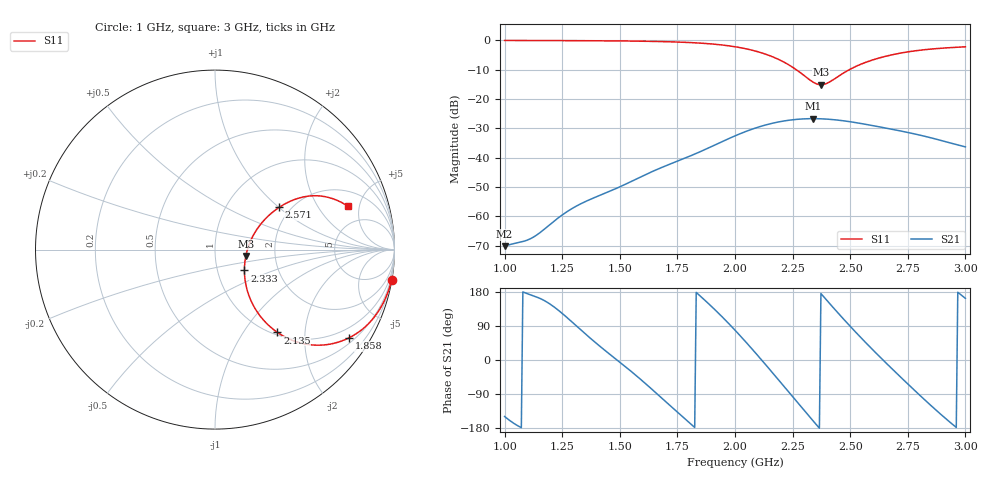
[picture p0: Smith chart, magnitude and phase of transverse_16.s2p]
! TOUCHSTONE file generated by CST MICROWAVE STUDIO
! Date and time: Tue Mar 11 13:55:49 2025
! Project name: transverse.cst
! Parameters = {Fracture=5; B=10; D=160; F=15; Feed=2.85625; L=100; M=10; R=0.384908; S=2; Theta=0; length=57.125; wave=114.25}
! Header version: 2024
! Port assignment regex: !\s*Touchstone port\s*([0-9]+)\s*=\s*(CST MWS port|CST DES external port|CST DES block port)\s*(.+)\s* \(\"(.*)\"\)(\s*mode\s*([0-9]+))?.*
! Touchstone port assignment:
! Touchstone port 1 = CST MWS port 1 ("")
! Touchstone port 2 = CST MWS port 2 ("")
# GHz S MA R 50
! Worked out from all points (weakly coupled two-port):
!   304 points, 1 GHz to 3 GHz, reference 50 ohm
!   highest |S21| = -26.68 dB at 2.34 GHz (marker M1); lowest = -70.2 dB at 1 GHz (marker M2)
!   lowest |S11| = -15.1 dB at 2.373 GHz (marker M3), VSWR 1.43, Z = 70.5 - j5.18 ohm
!   |S11| at or under -10 dB: 2.266 GHz to 2.496 GHz (229.8 MHz wide, 9.65 % of centre)
!   S12 and S22 are empty: the file has one direction only
!   S11 on the Smith chart (normalised r, x): 1 GHz: 0, -12; 1.858 GHz: 0.66, -3.22; 2.135 GHz: 1.04, -1.45; 2.333 GHz: 1.35, -0.33; 2.571 GHz: 1.74, +1.01; 3 GHz: 3.11, +3.81
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1  0.9978 -9.8  0.0003103 -149.2  0 0.0  0 0.0
1.08581  0.9965 -10.9  0.0003785 178.0  0 0.0  0 0.0
1.11881  0.996 -11.4  0.0004288 170.7  0 0.0  0 0.0
1.15182  0.9954 -11.9  0.0005216 163.0  0 0.0  0 0.0
1.25743  0.9927 -13.7  0.001107 119.1  0 0.0  0 0.0
1.33663  0.9894 -15.2  0.001683 76.4  0 0.0  0 0.0
1.66667  0.9581 -24.2  0.00643 -92.1  0 0.0  0 0.0
1.85809  0.8942 -33.3  0.01314 163.9  0 0.0  0 0.0
2.0033  0.776 -43.3  0.02388 76.6  0 0.0  0 0.0
2.06931  0.6882 -48.4  0.03018 32.3  0 0.0  0 0.0
2.13531  0.5778 -53.0  0.03637 -14.0  0 0.0  0 0.0
2.22772  0.3951 -55.8  0.0432 -80.5  0 0.0  0 0.0
2.28053  0.2876 -51.5  0.04548 -118.7  0 0.0  0 0.0
2.33333  0.2008 -35.2  0.04634 -156.6  0 0.0  0 0.0
2.33993  0.1934 -31.9  0.04635 -161.3  0 0.0  0 0.0
2.37294  0.1754 -11.7  0.04606 175.4  0 0.0  0 0.0
2.40594  0.1912 8.0  0.04528 152.3  0 0.0  0 0.0
2.47195  0.2793 28.0  0.04254 107.5  0 0.0  0 0.0
2.57096  0.428 33.4  0.03686 43.6  0 0.0  0 0.0
2.66997  0.5552 31.4  0.03115 -16.4  0 0.0  0 0.0
2.82838  0.6979 24.5  0.02296 -107.9  0 0.0  0 0.0
3  0.7774 18.2  0.0153 162.7  0 0.0  0 0.0
